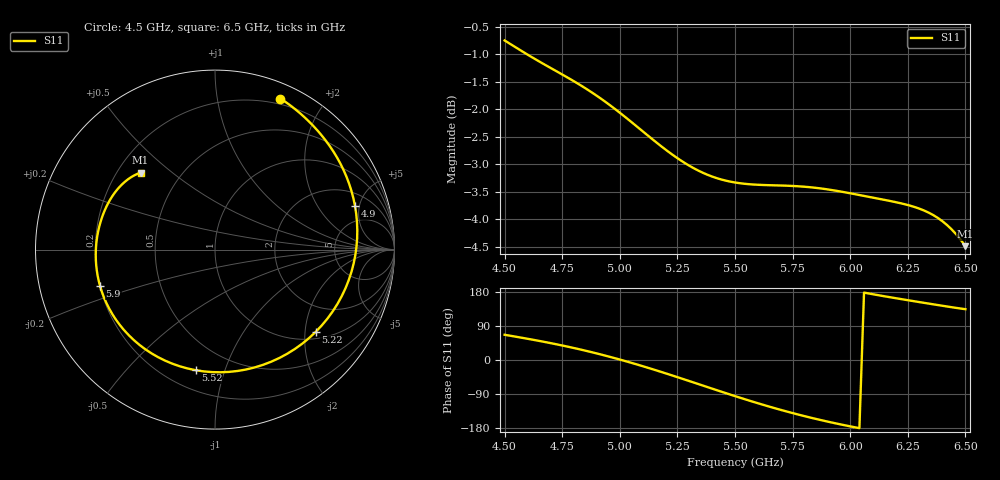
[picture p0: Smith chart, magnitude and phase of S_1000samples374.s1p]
! TOUCHSTONE file generated by CST MICROWAVE STUDIO
! Date and time: Thu Oct 27 22:57:15 2022
! Project name: L.cst
! Parameters = {Di=1.27; Epsilon_r=1.56; InnerDiameter=1.27; Length=2; Lf=10; Lg=60; OuterConductorThickness=0.2921; OuterDiameter=3.6; Wf=3; Wp=41.2; de=1.5; df=6.8; g=0.8; gx=2.95135; gy=0.567625; h=2.34; hf=1.524; px=10.8756; py=9.06361; w=9.7; wx=7.92423; wy=8.49598}
! Header version: 2018
! Port assignment regex: !\s*Touchstone port\s*([0-9]+)\s*=\s*(CST MWS port|CST DS port)\s*([0-9]+|Zmin|Zmax)\s*\(\"(.*)\"\)(\s*mode\s*([0-9]+))?.*
! Touchstone port assignment:
! Touchstone port 1 = CST MWS port 1 ("")
# GHz S DB R 50
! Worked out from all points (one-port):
!   101 points, 4.5 GHz to 6.5 GHz, reference 50 ohm
!   lowest |S11| = -4.5 dB at 6.5 GHz (marker M1), VSWR 3.96, Z = 14.7 + j19.6 ohm
!   |S11| at or under -10 dB: nowhere
!   S11 on the Smith chart (normalised r, x): 4.5 GHz: 0.14, +1.51; 4.9 GHz: 3.10, +4.52; 5.22 GHz: 1.18, -2.27; 5.52 GHz: 0.32, -0.80; 5.9 GHz: 0.20, -0.15; 6.5 GHz: 0.29, +0.39
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4.5  -0.75 66.6
4.64  -1.11 51.5
4.76  -1.39 37.0
4.84  -1.59 26.1
4.9  -1.76 17.3
4.96  -1.94 7.8
5  -2.06 1.2
5.06  -2.27 -9.2
5.1  -2.40 -16.5
5.16  -2.61 -27.7
5.22  -2.80 -39.3
5.26  -2.92 -47.2
5.32  -3.07 -59.3
5.38  -3.19 -71.4
5.44  -3.28 -83.4
5.5  -3.33 -95.3
5.52  -3.34 -99.1
5.58  -3.37 -110.5
5.64  -3.38 -121.4
5.7  -3.39 -131.8
5.76  -3.40 -141.7
5.82  -3.41 -150.9
5.9  -3.46 -162.3
6  -3.53 -175.1
6.12  -3.62 171.2
6.26  -3.75 156.8
6.4  -4.03 143.1
6.5  -4.49 134.0
